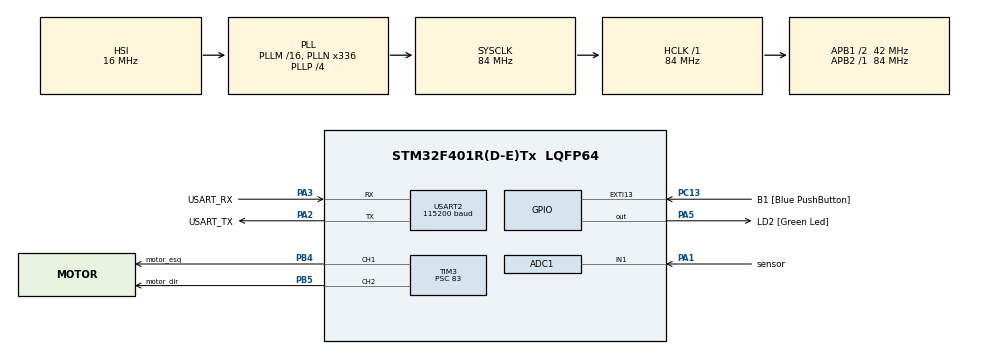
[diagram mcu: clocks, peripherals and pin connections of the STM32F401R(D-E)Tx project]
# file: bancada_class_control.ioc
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ADC1.Channel-1\#ChannelRegularConversion=ADC_CHANNEL_1
ADC1.ContinuousConvMode=ENABLE
ADC1.ExternalTrigConv=ADC_EXTERNALTRIGCONV_T3_TRGO
ADC1.NbrOfConversionFlag=1
ADC1.Rank-1\#ChannelRegularConversion=1
ADC1.SamplingTime-1\#ChannelRegularConversion=ADC_SAMPLETIME_28CYCLES
ADC1.master=1
Mcu.Family=STM32F4
Mcu.Name=STM32F401R(D-E)Tx
Mcu.Package=LQFP64
NVIC.ADC_IRQn=true\:0\:0\:false\:false\:true\:true\:true\:true
NVIC.EXTI15_10_IRQn=true\:0\:0\:false\:false\:true\:true\:true\:true
NVIC.PriorityGroup=NVIC_PRIORITYGROUP_0
NVIC.TIM3_IRQn=true\:0\:0\:false\:false\:true\:true\:true\:true
PA1.GPIO_Label=sensor
PA1.Signal=ADCx_IN1
PA13.GPIO_Label=TMS
PA13.Mode=Serial_Wire
PA13.Signal=SYS_JTMS-SWDIO
PA14.GPIO_Label=TCK
PA14.Mode=Serial_Wire
PA14.Signal=SYS_JTCK-SWCLK
PA2.GPIO_Label=USART_TX
PA2.GPIO_Mode=GPIO_MODE_AF_PP
PA2.GPIO_PuPd=GPIO_NOPULL
PA2.GPIO_Speed=GPIO_SPEED_FREQ_LOW
PA2.Mode=Asynchronous
PA2.Signal=USART2_TX
PA3.GPIO_Label=USART_RX
PA3.GPIO_Mode=GPIO_MODE_AF_PP
PA3.GPIO_PuPd=GPIO_NOPULL
PA3.GPIO_Speed=GPIO_SPEED_FREQ_LOW
PA3.Mode=Asynchronous
PA3.Signal=USART2_RX
PA5.GPIO_Label=LD2 [Green Led]
PA5.GPIO_Mode=GPIO_MODE_OUTPUT_PP
PA5.GPIO_PuPd=GPIO_NOPULL
PA5.GPIO_Speed=GPIO_SPEED_FREQ_LOW
PA5.Signal=GPIO_Output
PB3.GPIO_Label=SWO
PB3.Signal=SYS_JTDO-SWO
PB4.GPIO_Label=motor_esq
PB4.Signal=S_TIM3_CH1
PB5.GPIO_Label=motor_dir
PB5.Signal=S_TIM3_CH2
PC13-ANTI_TAMP.GPIO_Label=B1 [Blue PushButton]
PC13-ANTI_TAMP.GPIO_ModeDefaultEXTI=GPIO_MODE_IT_FALLING
PC13-ANTI_TAMP.GPIO_PuPd=GPIO_NOPULL
PC13-ANTI_TAMP.Signal=GPXTI13
PC14-OSC32_IN.Mode=LSE-External-Oscillator
PC14-OSC32_IN.Signal=RCC_OSC32_IN
PC15-OSC32_OUT.Mode=LSE-External-Oscillator
PC15-OSC32_OUT.Signal=RCC_OSC32_OUT
PH0\ -\ OSC_IN.Mode=HSE-External-Clock-Source
PH0\ -\ OSC_IN.Signal=RCC_OSC_IN
PH1\ -\ OSC_OUT.Mode=HSE-External-Clock-Source
PH1\ -\ OSC_OUT.Signal=RCC_OSC_OUT
ProjectManager.HeapSize=0x200
ProjectManager.StackSize=0x400
ProjectManager.TargetToolchain=STM32CubeIDE
RCC.48MHZClocksFreq_Value=48000000
RCC.AHBFreq_Value=84000000
RCC.APB1CLKDivider=RCC_HCLK_DIV2
RCC.APB1Freq_Value=42000000
RCC.APB1TimFreq_Value=84000000
RCC.APB2Freq_Value=84000000
RCC.APB2TimFreq_Value=84000000
RCC.CortexFreq_Value=84000000
RCC.HCLKFreq_Value=84000000
RCC.HSE_VALUE=8000000
RCC.HSI_VALUE=16000000
RCC.PLLN=336
RCC.PLLP=RCC_PLLP_DIV4
RCC.PLLQ=7
RCC.SYSCLKFreq_VALUE=84000000
RCC.SYSCLKSource=RCC_SYSCLKSOURCE_PLLCLK
RCC.VCOOutputFreq_Value=336000000
SH.ADCx_IN1.0=ADC1_IN1,IN1
SH.S_TIM3_CH1.0=TIM3_CH1,PWM Generation1 CH1
SH.S_TIM3_CH2.0=TIM3_CH2,PWM Generation2 CH2
TIM3.AutoReloadPreload=TIM_AUTORELOAD_PRELOAD_ENABLE
TIM3.Channel-PWM\ Generation1\ CH1=TIM_CHANNEL_1
TIM3.Channel-PWM\ Generation2\ CH2=TIM_CHANNEL_2
TIM3.Period=19999
TIM3.Prescaler=83
TIM3.TIM_MasterOutputTrigger=TIM_TRGO_UPDATE
USART2.BaudRate=115200
USART2.VirtualMode=VM_ASYNC
VP_TIM3_VS_ClockSourceINT.Mode=Internal
board=NUCLEO-F401RE

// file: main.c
/* USER CODE BEGIN Header */
/**
  ******************************************************************************
  * @file           : main.c
  * @brief          : Main program body
  ******************************************************************************
  * @attention
  *
  * Copyright (c) 2023 STMicroelectronics.
  * All rights reserved.
  *
  * This software is licensed under terms that can be found in the LICENSE file
  * in the root directory of this software component.
  * If no LICENSE file comes with this software, it is provided AS-IS.
  *
  ******************************************************************************
  */
/* USER CODE END Header */
#include "main.h"

/* USER CODE BEGIN PD */
#define MOTOR_RESET_CONDITION 0
#define MOTOR_IDLE_CONDITION 50
#define MOTOR_MA_CONDITION 150
#define MOTOR_HOVER_CONDITION 500
#define MOTOR_MAX_CONTROL 900

/* USER CODE END PD */

ADC_HandleTypeDef hadc1;

TIM_HandleTypeDef htim3;

UART_HandleTypeDef huart2;

/* USER CODE BEGIN PV */
uint8_t flag_user = 0;

void HAL_GPIO_EXTI_Callback(uint16_t GPIO_Pin)
{
	if(GPIO_Pin == B1_Pin)
	{
		flag_user = 1;
	}
}

void blink_led(int repetitions)
{
	for(int i=0; i< repetitions; i++)
	{
	  HAL_GPIO_TogglePin(LD2_GPIO_Port, LD2_Pin);
	  HAL_Delay(20);
	}
}
void wait_user()
{
	while(!flag_user)
	{
		HAL_Delay(10);
	}
	flag_user = 0;
}

uint8_t dataready = 0;
uint32_t angle_in_bits = 0;
void HAL_ADC_ConvCpltCallback(ADC_HandleTypeDef* hadc)
{
    // Read & Update The ADC Result
	HAL_GPIO_TogglePin(LD2_GPIO_Port, LD2_Pin);
	angle_in_bits = HAL_ADC_GetValue(hadc);
	dataready=1;
}

uint32_t clip(int16_t action)
{
	uint32_t normalizedU = 0;
	if (action < 0)
	{
		action = 0;
	}
	if (action > 1000)
	{
		action = 1000;
	}
	normalizedU = (uint32_t)(action);
}

void PWM_setCombinedValue(TIM_HandleTypeDef* htim, int16_t left_actionx10, int16_t right_actionx10)
{
	//PPM protocol,
	// 1 ms => 0%
	// 2 ms => 100%
	// ARR = 20000
	//PSC = 83
	//Clk = 84 Mhz
	uint32_t norm_U_dir = clip(right_actionx10);
	uint32_t norm_U_esq = clip(left_actionx10);
	norm_U_dir = 1000+norm_U_dir;
	norm_U_esq = 1000+norm_U_esq;
	htim->Instance->CCR1 = norm_U_esq;
	htim->Instance->CCR2 = norm_U_dir;
}

int contador_ciclos=0;
int posicao=0;
float define_referencia(){
	// A cada 5 segundos, a trajetória é trocada
	if(contador_ciclos > (int) (5/0.02) ){
		posicao += 1;
		contador_ciclos = 0;
	}

	if(posicao%4 == 0){
		return 0;
	}
	if(posicao%4 == 1){
		//return -30*3.14159/180;
		return -0.5236;
	}
	if(posicao%4 == 2){
		return 0;
	}
	if(posicao%4 == 3){
		//return 30*3.14159/180;
		return 0.5236;
	}
}

/* USER CODE END PV */

void SystemClock_Config(void);
static void MX_GPIO_Init(void);
static void MX_USART2_UART_Init(void);
static void MX_ADC1_Init(void);
static void MX_TIM3_Init(void);

int main(void)
{

  /* MCU Configuration--------------------------------------------------------*/

  /* Reset of all peripherals, Initializes the Flash interface and the Systick. */
  HAL_Init();

  /* Configure the system clock */
  SystemClock_Config();

  /* Initialize all configured peripherals */
  MX_GPIO_Init();
  MX_USART2_UART_Init();
  MX_ADC1_Init();
  MX_TIM3_Init();
  /* USER CODE BEGIN 2 */
  blink_led(50);
  wait_user();
  HAL_UART_Transmit(&huart2, "Programa com controle!\r\n", 24, 10000);
  HAL_TIM_PWM_Init(&htim3);
  HAL_TIM_PWM_Start(&htim3, TIM_CHANNEL_1);
  HAL_TIM_PWM_Start(&htim3, TIM_CHANNEL_2);
  HAL_Delay(2000);
  //Motor1 é esquerdo
  PWM_setCombinedValue(&htim3,0,0);
  HAL_Delay(5000);
  /* USER CODE END 2 */

  /* Infinite loop */
  /* USER CODE BEGIN WHILE */

  HAL_Delay(100);
  HAL_ADC_Start_IT(&hadc1);
  /* DEFINA AQUI AS PARTES DO CONTROLADOR - COMEÇO 1*/
  float ref = 0;
  float angle_ADC = 0;

  float error = 0;
  float u=0;
  float u_pwm = 0;

  float u2=0;
  float u1=0;

  float e1=0;
  float e2=0;

  float sinalEsquerdo = 0;
  float sinalDireito = 0;

  // Controlador avanco
  // float K = 6.3281;

  // Controlador avanco e atraso
  float K = 5.0118;
  float p1= 0.5145;
  float p2= 0.99;
  float z1= 0.9771;
  float z2= 0.97;

  char linha4[22];	// Variavel que será enviada as informações, com 22 caracteres

  /* DEFINA AQUI AS PARTES DO CONTROLADOR - FIM 1 */
  while (1)
  {
    /* USER CODE END WHILE */
    /* USER CODE BEGIN 3 */
	if(dataready)
	{
		/* DEFINA AQUI AS PARTES DO CONTROLADOR - COMEÇO 2*/
		dataready = 0;
		angle_ADC = angle_in_bits * 0.0005 - 1.19;

		// Descomentar as duas linhas para testes em trajetorias
		contador_ciclos +=1;
		ref = define_referencia();

		error = angle_ADC-ref;

		// Primeiro controlador de forca - estavel
		// u = K*error - K*0.9771*e1 + 0.5145*u1;

		// Controlador avanco e atraso
		u= (p1+p2)*u1 - p1*p2*u2 + K*error - (z1+z2)*K*e1 + z1*z2*K*e2;

		u2 = u1;
		u1 = u;
		e2 = e1;
		e1 = error;

		// Balanço de força
		sinalDireito = 1.5 - u/2;
		sinalEsquerdo = 1.5 + u/2;

		// Conversão pra PWM - Linear
		sinalDireito = 275*sinalDireito + 226;
		sinalEsquerdo = 275*sinalEsquerdo + 226;

		// Limitacao dos valores de acao de controle para os motores
		if(sinalEsquerdo>950){
			sinalEsquerdo = 950;
		} else if(sinalEsquerdo < 50){
			sinalEsquerdo = 50;
		}

		if(sinalDireito>950){
			sinalDireito = 950;
		} else if(sinalDireito < 50){
			sinalDireito = 50;
		}

		PWM_setCombinedValue(&htim3, sinalEsquerdo, sinalDireito);

		int angulo = (int) (angle_ADC*180/3.14159);

		// Adequacao de angulo para envio serial
		int valor_inteiro_angulo = (int) angulo;
		int valor_decimal_angulo = (int) ((angle_ADC*180/3.14159-valor_inteiro_angulo)*100);

		// Adequacao de acao de controle para envio serial
		int valor_inteiro_controle = (int) u;
		int valor_decimal_controle = (int) ((u-valor_inteiro_controle)*100);

		// Envio dos dados de angulo - Leitura ADC
		sprintf(linha4, "A%03d\n\r", (int) angle_in_bits);
		HAL_UART_Transmit(&huart2, linha4, strlen(linha4),1000);

		// Envio dos dados de angulo - Radianos
		sprintf(linha4, "R%03d.%03d\n\r", valor_inteiro_angulo, abs(valor_decimal_angulo));
		HAL_UART_Transmit(&huart2, linha4, strlen(linha4),1000);

		// Envio dos dados de sinal de controle
		sprintf(linha4, "U%03d.%03d\n\r", valor_inteiro_controle, abs(valor_decimal_controle));
		HAL_UART_Transmit(&huart2, linha4, strlen(linha4),1000);

		/* DEFINA AQUI AS PARTES DO CONTROLADOR - FIM 2 */
	}
  }
  /* USER CODE END 3 */
}

void SystemClock_Config(void)
{
  RCC_OscInitTypeDef RCC_OscInitStruct = {0};
  RCC_ClkInitTypeDef RCC_ClkInitStruct = {0};

  /** Configure the main internal regulator output voltage
  */
  __HAL_RCC_PWR_CLK_ENABLE();
  __HAL_PWR_VOLTAGESCALING_CONFIG(PWR_REGULATOR_VOLTAGE_SCALE2);

  /** Initializes the RCC Oscillators according to the specified parameters
  * in the RCC_OscInitTypeDef structure.
  */
  RCC_OscInitStruct.OscillatorType = RCC_OSCILLATORTYPE_HSI;
  RCC_OscInitStruct.HSIState = RCC_HSI_ON;
  RCC_OscInitStruct.HSICalibrationValue = RCC_HSICALIBRATION_DEFAULT;
  RCC_OscInitStruct.PLL.PLLState = RCC_PLL_ON;
  RCC_OscInitStruct.PLL.PLLSource = RCC_PLLSOURCE_HSI;
  RCC_OscInitStruct.PLL.PLLM = 16;
  RCC_OscInitStruct.PLL.PLLN = 336;
  RCC_OscInitStruct.PLL.PLLP = RCC_PLLP_DIV4;
  RCC_OscInitStruct.PLL.PLLQ = 7;
  if (HAL_RCC_OscConfig(&RCC_OscInitStruct) != HAL_OK)
  {
    Error_Handler();
  }

  /** Initializes the CPU, AHB and APB buses clocks
  */
  RCC_ClkInitStruct.ClockType = RCC_CLOCKTYPE_HCLK|RCC_CLOCKTYPE_SYSCLK
                              |RCC_CLOCKTYPE_PCLK1|RCC_CLOCKTYPE_PCLK2;
  RCC_ClkInitStruct.SYSCLKSource = RCC_SYSCLKSOURCE_PLLCLK;
  RCC_ClkInitStruct.AHBCLKDivider = RCC_SYSCLK_DIV1;
  RCC_ClkInitStruct.APB1CLKDivider = RCC_HCLK_DIV2;
  RCC_ClkInitStruct.APB2CLKDivider = RCC_HCLK_DIV1;

  if (HAL_RCC_ClockConfig(&RCC_ClkInitStruct, FLASH_LATENCY_2) != HAL_OK)
  {
    Error_Handler();
  }
}

static void MX_ADC1_Init(void)
{

  ADC_ChannelConfTypeDef sConfig = {0};

  /** Configure the global features of the ADC (Clock, Resolution, Data Alignment and number of conversion)
  */
  hadc1.Instance = ADC1;
  hadc1.Init.ClockPrescaler = ADC_CLOCK_SYNC_PCLK_DIV4;
  hadc1.Init.Resolution = ADC_RESOLUTION_12B;
  hadc1.Init.ScanConvMode = DISABLE;
  hadc1.Init.ContinuousConvMode = ENABLE;
  hadc1.Init.DiscontinuousConvMode = DISABLE;
  hadc1.Init.ExternalTrigConvEdge = ADC_EXTERNALTRIGCONVEDGE_RISING;
  hadc1.Init.ExternalTrigConv = ADC_EXTERNALTRIGCONV_T3_TRGO;
  hadc1.Init.DataAlign = ADC_DATAALIGN_RIGHT;
  hadc1.Init.NbrOfConversion = 1;
  hadc1.Init.DMAContinuousRequests = DISABLE;
  hadc1.Init.EOCSelection = ADC_EOC_SINGLE_CONV;
  if (HAL_ADC_Init(&hadc1) != HAL_OK)
  {
    Error_Handler();
  }

  /** Configure for the selected ADC regular channel its corresponding rank in the sequencer and its sample time.
  */
  sConfig.Channel = ADC_CHANNEL_1;
  sConfig.Rank = 1;
  sConfig.SamplingTime = ADC_SAMPLETIME_28CYCLES;
  if (HAL_ADC_ConfigChannel(&hadc1, &sConfig) != HAL_OK)
  {
    Error_Handler();
  }

}

static void MX_TIM3_Init(void)
{

  TIM_ClockConfigTypeDef sClockSourceConfig = {0};
  TIM_MasterConfigTypeDef sMasterConfig = {0};
  TIM_OC_InitTypeDef sConfigOC = {0};

  htim3.Instance = TIM3;
  htim3.Init.Prescaler = 83;
  htim3.Init.CounterMode = TIM_COUNTERMODE_UP;
  htim3.Init.Period = 19999;
  htim3.Init.ClockDivision = TIM_CLOCKDIVISION_DIV1;
  htim3.Init.AutoReloadPreload = TIM_AUTORELOAD_PRELOAD_ENABLE;
  if (HAL_TIM_Base_Init(&htim3) != HAL_OK)
  {
    Error_Handler();
  }
  sClockSourceConfig.ClockSource = TIM_CLOCKSOURCE_INTERNAL;
  if (HAL_TIM_ConfigClockSource(&htim3, &sClockSourceConfig) != HAL_OK)
  {
    Error_Handler();
  }
  if (HAL_TIM_PWM_Init(&htim3) != HAL_OK)
  {
    Error_Handler();
  }
  sMasterConfig.MasterOutputTrigger = TIM_TRGO_UPDATE;
  sMasterConfig.MasterSlaveMode = TIM_MASTERSLAVEMODE_DISABLE;
  if (HAL_TIMEx_MasterConfigSynchronization(&htim3, &sMasterConfig) != HAL_OK)
  {
    Error_Handler();
  }
  sConfigOC.OCMode = TIM_OCMODE_PWM1;
  sConfigOC.Pulse = 0;
  sConfigOC.OCPolarity = TIM_OCPOLARITY_HIGH;
  sConfigOC.OCFastMode = TIM_OCFAST_DISABLE;
  if (HAL_TIM_PWM_ConfigChannel(&htim3, &sConfigOC, TIM_CHANNEL_1) != HAL_OK)
  {
    Error_Handler();
  }
  if (HAL_TIM_PWM_ConfigChannel(&htim3, &sConfigOC, TIM_CHANNEL_2) != HAL_OK)
  {
    Error_Handler();
  }
  HAL_TIM_MspPostInit(&htim3);

}

static void MX_USART2_UART_Init(void)
{

  huart2.Instance = USART2;
  huart2.Init.BaudRate = 115200;
  huart2.Init.WordLength = UART_WORDLENGTH_8B;
  huart2.Init.StopBits = UART_STOPBITS_1;
  huart2.Init.Parity = UART_PARITY_NONE;
  huart2.Init.Mode = UART_MODE_TX_RX;
  huart2.Init.HwFlowCtl = UART_HWCONTROL_NONE;
  huart2.Init.OverSampling = UART_OVERSAMPLING_16;
  if (HAL_UART_Init(&huart2) != HAL_OK)
  {
    Error_Handler();
  }

}

static void MX_GPIO_Init(void)
{
  GPIO_InitTypeDef GPIO_InitStruct = {0};

  /* GPIO Ports Clock Enable */
  __HAL_RCC_GPIOC_CLK_ENABLE();
  __HAL_RCC_GPIOH_CLK_ENABLE();
  __HAL_RCC_GPIOA_CLK_ENABLE();
  __HAL_RCC_GPIOB_CLK_ENABLE();

  /*Configure GPIO pin Output Level */
  HAL_GPIO_WritePin(LD2_GPIO_Port, LD2_Pin, GPIO_PIN_RESET);

  /*Configure GPIO pin : B1_Pin */
  GPIO_InitStruct.Pin = B1_Pin;
  GPIO_InitStruct.Mode = GPIO_MODE_IT_FALLING;
  GPIO_InitStruct.Pull = GPIO_NOPULL;
  HAL_GPIO_Init(B1_GPIO_Port, &GPIO_InitStruct);

  /*Configure GPIO pin : LD2_Pin */
  GPIO_InitStruct.Pin = LD2_Pin;
  GPIO_InitStruct.Mode = GPIO_MODE_OUTPUT_PP;
  GPIO_InitStruct.Pull = GPIO_NOPULL;
  GPIO_InitStruct.Speed = GPIO_SPEED_FREQ_LOW;
  HAL_GPIO_Init(LD2_GPIO_Port, &GPIO_InitStruct);

  /* EXTI interrupt init*/
  HAL_NVIC_SetPriority(EXTI15_10_IRQn, 0, 0);
  HAL_NVIC_EnableIRQ(EXTI15_10_IRQn);

}

void Error_Handler(void)
{
  __disable_irq();
  while (1)
  {
  }
}
